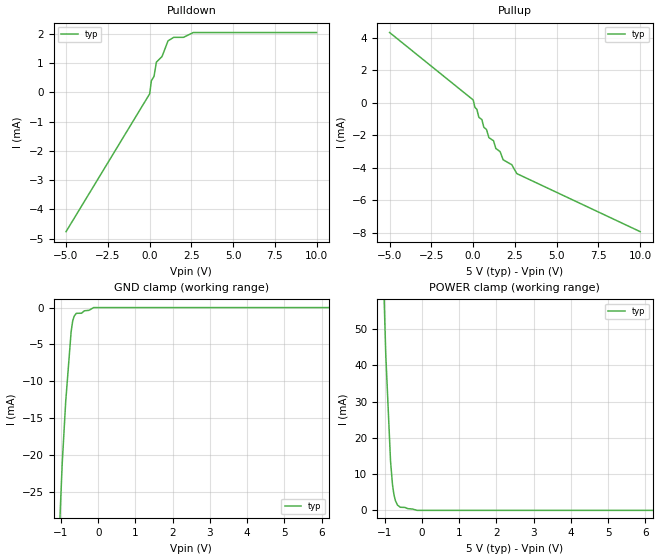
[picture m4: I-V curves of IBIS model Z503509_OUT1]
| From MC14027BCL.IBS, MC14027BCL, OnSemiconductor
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| (C) COPYRIGHT 1993-2000
| MENTOR GRAPHICS CORPORATION
| ICX STANDARD LIBRARY, ICX PROJECT MODELING,
| ICX CUSTOM MODELING, ICX VENDOR MODEL
| ALL RIGHTS RESERVED.
| THE FOLLOWING ARE TRADEMARKS OR SERVICE MARKS OF
| MENTOR GRAPHICS CORPORATION:ICX (R), ICX STANDARD
| LIBRARY(R), ICX PROJECT MODELING(R), ICX CUSTOM
| MODELING(R), qualityIBIS(TM), MODELVIEWER(TM),
| AND MODELEDITOR(TM)
| ALL COPIES OF SOFTWARE, INCLUDING BUT NOT LIMITED TO
| ANY MODIFICATIONS, ENHANCEMENTS OR DERIVATIVE WORKS,
| MUST CONTAIN ALL MENTOR GRAPHICS CORPORATION'S
| NOTICES AND LEGENDS, INCLUDING THOSE EMBEDDED IN
| SOFTWARE AND THOSE AFFIXED TO SOFTWARE MEDIUM
| AND CONTAINER, AS RECEIVED FROM MENTOR GRAPHICS
| CORPORATION.
| Model Application Version 1.89 2/18/99.
[Model] Z503509_OUT1
Model_type Output
Vref=0.000V
Rref=500.0Mohms
Cref=50.00pF
Vmeas=2.500V
C_comp 8.000pF NA NA
| variable typ   min   max
[Voltage Range] 5.000V NA NA
[POWER Clamp Reference] 5.000V NA NA
[Pullup Reference] 5.000V NA NA
[Pulldown Reference] 0.000V NA NA
[GND Clamp Reference] 0.000V NA NA
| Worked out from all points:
|   slope of the pulldown table from 0 to 0.75 V, typ, clamps not added: 584 ohm
|   slope of the pullup table from 0 to 0.75 V, typ, clamps not added: 422 ohm
|   GND clamp passes 1 mA (typ) near -0.62 V on its own axis
|   POWER clamp passes 1 mA (typ) near -0.59 V on its own axis
[GND Clamp]
-5V       -620.1mA   NA         NA
-1.108V   -38.24mA   NA         NA
-966.7mV  -21.15mA   NA         NA
-873.4mV  -12.77mA   NA         NA
-727.5mV  -3.277mA   NA         NA
-683.9mV  -1.771mA   NA         NA
-644.8mV  -1.161mA   NA         NA
-588.8mV  -780.3uA   NA         NA
-449.2mV  -767.7uA   NA         NA
-371.1mV  -436.1uA   NA         NA
-124.4mV  0A         NA         NA
10V       0A         NA         NA
[Pulldown]
-5V       -4.762mA   NA         NA
9.46mV    -46.59uA   NA         NA
107mV     397.1uA    NA         NA
266.7mV   544.5uA    NA         NA
407.5mV   1.032mA    NA         NA
747.1mV   1.225mA    NA         NA
1.103V    1.76mA     NA         NA
1.445V    1.881mA    NA         NA
2.031V    1.881mA    NA         NA
2.617V    2.045mA    NA         NA
10V       2.045mA    NA         NA
[Pullup]
-5V       4.328mA    NA         NA
5mV       177.6uA    NA         NA
343mV     -891uA     NA         NA
523mV     -1.026mA   NA         NA
942mV     -2.14mA    NA         NA
1.22V     -2.328mA   NA         NA
1.359V    -2.808mA   NA         NA
1.617V    -3.003mA   NA         NA
1.797V    -3.505mA   NA         NA
2.314V    -3.806mA   NA         NA
2.615V    -4.354mA   NA         NA
10V       -7.925mA   NA         NA
[POWER Clamp]
-5V       1.79A      NA         NA
-1.112V   93.89mA    NA         NA
-967mV    43.07mA    NA         NA
-839mV    13.6mA     NA         NA
-786mV    7.056mA    NA         NA
-747mV    4.289mA    NA         NA
-708mV    2.677mA    NA         NA
-652mV    1.459mA    NA         NA
-576mV    854.6uA    NA         NA
-454mV    813.8uA    NA         NA
-127mV    0A         NA         NA
10V       0A         NA         NA
[Ramp]
| variable typ min max
dV/dt_r 2.503/20.42n NA NA
dV/dt_f 2.503/34.78n NA NA
R_load = 2.500kOhms
